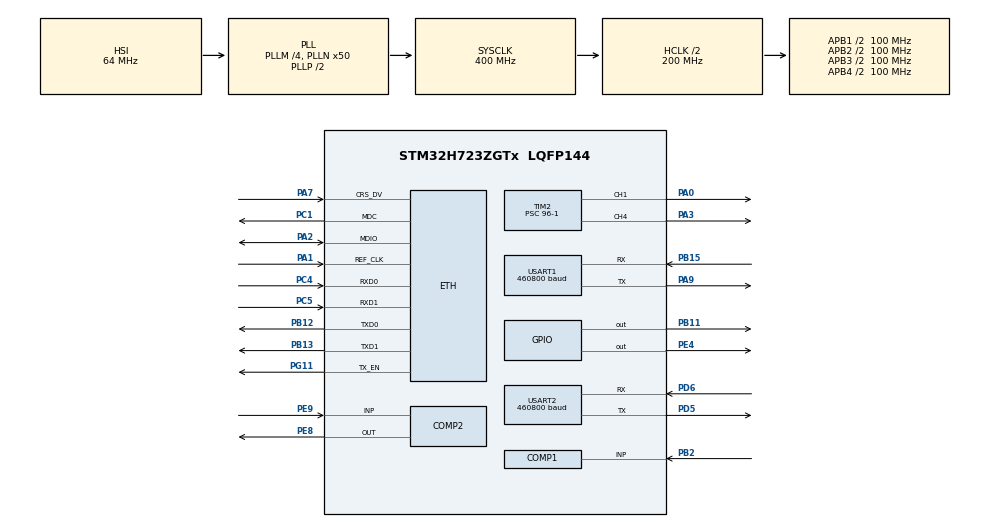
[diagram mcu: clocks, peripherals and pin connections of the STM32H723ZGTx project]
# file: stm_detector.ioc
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COMP1.OutputPol=COMP_OUTPUTPOL_NONINVERTED
CORTEX_M7.AccessPermission_S-Cortex_Memory_Protection_Unit_Region1_Settings_S=MPU_REGION_PRIV_RO
CORTEX_M7.BaseAddress_S-Cortex_Memory_Protection_Unit_Region1_Settings_S=0x08000000
CORTEX_M7.CPU_DCache=Enabled
CORTEX_M7.CPU_ICache=Enabled
CORTEX_M7.Enable_S-Cortex_Memory_Protection_Unit_Region1_Settings_S=MPU_REGION_ENABLE
CORTEX_M7.IsCacheable_S-Cortex_Memory_Protection_Unit_Region1_Settings_S=MPU_ACCESS_CACHEABLE
CORTEX_M7.Size_S-Cortex_Memory_Protection_Unit_Region1_Settings_S=MPU_REGION_SIZE_1MB
CORTEX_M7.TypeExtField_S-Cortex_Memory_Protection_Unit_Region1_Settings_S=MPU_TEX_LEVEL1
CORTEX_M7.default_mode_Activation=1
DAC1.DAC_Channel-DAC_OUT1_Int=DAC_CHANNEL_1
DAC1.DAC_Channel-DAC_OUT2_Int=DAC_CHANNEL_2
Dma.Request0=USART2_RX
Dma.USART2_RX.0.Direction=DMA_PERIPH_TO_MEMORY
Dma.USART2_RX.0.EventEnable=DISABLE
Dma.USART2_RX.0.FIFOMode=DMA_FIFOMODE_DISABLE
Dma.USART2_RX.0.Instance=DMA1_Stream5
Dma.USART2_RX.0.MemDataAlignment=DMA_MDATAALIGN_BYTE
Dma.USART2_RX.0.MemInc=DMA_MINC_ENABLE
Dma.USART2_RX.0.Mode=DMA_CIRCULAR
Dma.USART2_RX.0.PeriphDataAlignment=DMA_PDATAALIGN_BYTE
Dma.USART2_RX.0.PeriphInc=DMA_PINC_DISABLE
Dma.USART2_RX.0.Polarity=HAL_DMAMUX_REQ_GEN_RISING
Dma.USART2_RX.0.Priority=DMA_PRIORITY_MEDIUM
Dma.USART2_RX.0.RequestNumber=1
Dma.USART2_RX.0.SignalID=NONE
Dma.USART2_RX.0.SyncEnable=DISABLE
Dma.USART2_RX.0.SyncPolarity=HAL_DMAMUX_SYNC_NO_EVENT
Dma.USART2_RX.0.SyncRequestNumber=1
Dma.USART2_RX.0.SyncSignalID=NONE
ETH.MediaInterface=HAL_ETH_RMII_MODE
FREERTOS.Tasks01=defaultTask,24,1024,StartDefaultTask,Default,NULL,Dynamic,NULL,NULL
FREERTOS.configENABLE_FPU=1
FREERTOS.configMINIMAL_STACK_SIZE=1024
FREERTOS.configUSE_NEWLIB_REENTRANT=1
LWIP.BSP.number=1
LWIP.GATEWAY_ADDRESS=010.000.001.001
LWIP.IP_ADDRESS=010.000.001.099
LWIP.LWIP_DHCP=0
LWIP.NETMASK_ADDRESS=255.255.255.000
LWIP.Version=v2.1.2_Cube
LWIP0.BSP.STBoard=false
LWIP0.BSP.api=BSP_COMPONENT_DRIVER
LWIP0.BSP.component=LAN8742
LWIP0.BSP.instance=LAN8742
LWIP0.BSP.name=Driver_PHY
LWIP0.BSP.semaphore=S_LAN8742
LWIP0.BSP.solution=LAN8742
Mcu.Family=STM32H7
Mcu.Name=STM32H723ZGTx
Mcu.Package=LQFP144
NUCLEO-H723ZG.BUTTON=1
NUCLEO-H723ZG.Bsp_Common_DEMO=true
NUCLEO-H723ZG.LD1=false
NUCLEO-H723ZG.LD2=true
NUCLEO-H723ZG.LD3=true
NUCLEO-H723ZG.VCP=true
NVIC.DMA1_Stream5_IRQn=true\:7\:0\:true\:false\:true\:false\:false\:true\:true
NVIC.EXTI15_10_IRQn=true\:5\:0\:false\:false\:true\:true\:false\:true\:true
NVIC.PriorityGroup=NVIC_PRIORITYGROUP_4
NVIC.TIM1_UP_IRQn=true\:15\:0\:false\:false\:true\:false\:false\:true\:true
NVIC.TIM3_IRQn=true\:5\:0\:true\:false\:true\:true\:true\:true\:true
NVIC.TimeBase=TIM1_UP_IRQn
NVIC.TimeBaseIP=TIM1
NVIC.USART2_IRQn=true\:6\:0\:true\:false\:true\:true\:true\:true\:true
PA0.GPIO_Speed=GPIO_SPEED_FREQ_VERY_HIGH
PA0.Signal=S_TIM2_CH1_ETR
PA1.Mode=RMII
PA1.Signal=ETH_REF_CLK
PA13(JTMS/SWDIO).GPIO_Label=SWDIO
PA13(JTMS/SWDIO).Mode=Serial_Wire
PA13(JTMS/SWDIO).Signal=DEBUG_JTMS-SWDIO
PA14(JTCK/SWCLK).GPIO_Label=SWCLK
PA14(JTCK/SWCLK).Mode=Serial_Wire
PA14(JTCK/SWCLK).Signal=DEBUG_JTCK-SWCLK
PA2.Mode=RMII
PA2.Signal=ETH_MDIO
PA3.GPIO_Speed=GPIO_SPEED_FREQ_VERY_HIGH
PA3.Signal=S_TIM2_CH4
PA7.Mode=RMII
PA7.Signal=ETH_CRS_DV
PA9.Mode=Asynchronous
PA9.Signal=USART1_TX
PB11.Signal=GPIO_Output
PB12.Mode=RMII
PB12.Signal=ETH_TXD0
PB13.Mode=RMII
PB13.Signal=ETH_TXD1
PB15.Mode=Asynchronous
PB15.Signal=USART1_RX
PB2.Mode=INP
PB2.Signal=COMP1_INP
PC1.Mode=RMII
PC1.Signal=ETH_MDC
PC14-OSC32_IN.Signal=RCC_OSC32_IN
PC15-OSC32_OUT.Signal=RCC_OSC32_OUT
PC4.Mode=RMII
PC4.Signal=ETH_RXD0
PC5.Mode=RMII
PC5.Signal=ETH_RXD1
PD5.Mode=Asynchronous
PD5.Signal=USART2_TX
PD6.Mode=Asynchronous
PD6.Signal=USART2_RX
PD8.Signal=USART3_TX
PD9.Signal=USART3_RX
PE12.Signal=COMP1_OUT
PE4.Signal=GPIO_Output
PE8.Mode=ExternalOutput
PE8.Signal=COMP2_OUT
PE9.Mode=INP
PE9.Signal=COMP2_INP
PG11.Mode=RMII
PG11.Signal=ETH_TX_EN
ProjectManager.HeapSize=0x200
ProjectManager.StackSize=0x400
ProjectManager.TargetToolchain=STM32CubeIDE
RCC.ADCFreq_Value=608000000
RCC.APB1Freq_Value=100000000
RCC.APB2Freq_Value=100000000
RCC.APB3Freq_Value=100000000
RCC.APB4Freq_Value=100000000
RCC.CortexFreq_Value=400000000
RCC.D1PPRE=RCC_APB3_DIV2
RCC.D2PPRE1=RCC_APB1_DIV2
RCC.D2PPRE2=RCC_APB2_DIV2
RCC.D3PPRE=RCC_APB4_DIV2
RCC.DIVM1=4
RCC.DIVM2=1
RCC.DIVN1=50
RCC.DIVN2=19
RCC.DIVQ1=4
RCC.HCLKFreq_Value=200000000
RCC.HPRE=RCC_HCLK_DIV2
RCC.HSE_VALUE=8000000
RCC.PLLFRACN=0
RCC.SYSCLKFreq_VALUE=400000000
RCC.SYSCLKSource=RCC_SYSCLKSOURCE_PLLCLK
RCC.USBCLockSelection=RCC_USBCLKSOURCE_HSI48
RCC.USBFreq_Value=48000000
SH.S_TIM2_CH1_ETR.0=TIM2_CH1,PWM Generation1 CH1
SH.S_TIM2_CH4.0=TIM2_CH4,PWM Generation4 CH4
TIM2.Channel-PWM\ Generation1\ CH1=TIM_CHANNEL_1
TIM2.Channel-PWM\ Generation4\ CH4=TIM_CHANNEL_4
TIM2.OCPolarity_1=TIM_OCPOLARITY_LOW
TIM2.OCPolarity_4=TIM_OCPOLARITY_HIGH
TIM2.Period=50
TIM2.Prescaler=96-1
TIM2.TIM_MasterOutputTrigger=TIM_TRGO_ENABLE
TIM3.Channel-Input_Capture1_from_TI1_Remap_TIM3=TIM_CHANNEL_1
TIM3.TIM_MasterOutputTrigger=TIM_TRGO_ENABLE
USART1.BaudRate=460800
USART1.FIFOMode=FIFOMODE_ENABLE
USART1.Mode=MODE_RX
USART1.RXFIFOThreshold=RXFIFO_THRESHOLD_HALFFULL
USART1.VirtualMode-Asynchronous=VM_ASYNC
USART2.BaudRate=460800
USART2.DMADisableonRxErrorParam=ADVFEATURE_DMA_DISABLEONRXERROR
USART2.FIFOMode=FIFOMODE_DISABLE
USART2.Mode=MODE_RX
USART2.RXFIFOThreshold=RXFIFO_THRESHOLD_HALFFULL
USART2.VirtualMode-Asynchronous=VM_ASYNC
VP_COMP1_VS_VREFINT34.Mode=VREFINT_34
VP_COMP2_VS_VREFINT12.Mode=VREFINT_12
VP_DAC1_VS_DACI1.Mode=DAC_OUT1_Int
VP_DAC1_VS_DACI2.Mode=DAC_OUT2_Int
VP_FREERTOS_VS_CMSIS_V2.Mode=CMSIS_V2
VP_LWIP_VS_Enabled.Mode=Enabled
VP_MEMORYMAP_VS_MEMORYMAP.Mode=CurAppReg
VP_NUCLEO-H723ZG_VS_BSP_COMMON.Mode=COMMON
VP_SYS_VS_tim1.Mode=TIM1
VP_TIM2_VS_ClockSourceINT.Mode=Internal
VP_TIM2_VS_OPM.Mode=OPM_bit
VP_TIM3_VS_ClockSourceINT.Mode=Internal
VP_TIM3_VS_ClockSourceITR.Mode=TriggerSource_ITR1
VP_TIM3_VS_ControllerModeTrigger.Mode=Trigger Mode
VP_TIM3_VS_NoInput1.Mode=Input_Capture1_from_TI1_Remap_TIM3
VREF+.Mode=InternalMode
VREF+.Signal=VREFBUF_OUT
board=NUCLEO-H723ZG

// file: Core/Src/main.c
/* USER CODE BEGIN Header */
/**
 ******************************************************************************
 * @file           : main.c
 * @brief          : Main program body
 ******************************************************************************
 * @attention
 *
 * Copyright (c) 2025 STMicroelectronics.
 * All rights reserved.
 *
 * This software is licensed under terms that can be found in the LICENSE file
 * in the root directory of this software component.
 * If no LICENSE file comes with this software, it is provided AS-IS.
 *
 ******************************************************************************
 */
/* USER CODE END Header */
#include "main.h"
#include "cmsis_os.h"
#include "lwip.h"

/* USER CODE BEGIN Includes */
#include "lwip/apps/lwiperf.h"
#include "gps.h"
#include "metal_detector.h"

/* USER CODE END Includes */

COM_InitTypeDef BspCOMInit;
__IO uint32_t BspButtonState = BUTTON_RELEASED;
COMP_HandleTypeDef hcomp1;
COMP_HandleTypeDef hcomp2;

DAC_HandleTypeDef hdac1;

TIM_HandleTypeDef htim2;
TIM_HandleTypeDef htim3;

UART_HandleTypeDef huart1;
UART_HandleTypeDef huart2;
DMA_HandleTypeDef hdma_usart2_rx;

/* Definitions for defaultTask */
osThreadId_t defaultTaskHandle;
const osThreadAttr_t defaultTask_attributes = {
  .name = "defaultTask",
  .stack_size = 1024 * 4,
  .priority = (osPriority_t) osPriorityNormal,
};
/* USER CODE BEGIN PV */

// GPS and metal detector modules are now in separate files (gps.c/metal_detector.c)

/* USER CODE END PV */

void SystemClock_Config(void);
static void MPU_Config(void);
static void MX_GPIO_Init(void);
static void MX_DMA_Init(void);
static void MX_COMP1_Init(void);
static void MX_COMP2_Init(void);
static void MX_DAC1_Init(void);
static void MX_TIM3_Init(void);
static void MX_USART1_UART_Init(void);
static void MX_USART2_UART_Init(void);
static void MX_TIM2_Init(void);
void StartDefaultTask(void *argument);

/* USER CODE BEGIN PFP */
// Function prototypes now in gps.h and metal_detector.h
/* USER CODE END PFP */

int main(void)
{

  /* MPU Configuration--------------------------------------------------------*/
  MPU_Config();

  /* Enable the CPU Cache */

  /* Enable I-Cache---------------------------------------------------------*/
  SCB_EnableICache();

  /* Enable D-Cache---------------------------------------------------------*/
  SCB_EnableDCache();

  /* MCU Configuration--------------------------------------------------------*/

  /* Reset of all peripherals, Initializes the Flash interface and the Systick. */
  HAL_Init();

  /* Configure the system clock */
  SystemClock_Config();

  /* Initialize all configured peripherals */
  MX_GPIO_Init();
  MX_DMA_Init();
  MX_COMP1_Init();
  MX_COMP2_Init();
  MX_DAC1_Init();
  MX_TIM3_Init();
  MX_USART1_UART_Init();
  MX_USART2_UART_Init();
  MX_TIM2_Init();
  /* USER CODE BEGIN 2 */

  // Start TIM3 in free-running mode
  HAL_TIM_Base_Start(&htim3);

  // Start input capture with interrupt
  HAL_TIM_IC_Start_IT(&htim3, TIM_CHANNEL_1); // For COMP1
                                              // HAL_TIM_IC_Start_IT(&htim3, TIM_CHANNEL_2);  // For COMP2 if needed

  /* USER CODE END 2 */

  /* Init scheduler */
  osKernelInitialize();

  /* Create the thread(s) */
  /* creation of defaultTask */
  defaultTaskHandle = osThreadNew(StartDefaultTask, NULL, &defaultTask_attributes);

  /* Initialize leds */
  BSP_LED_Init(LED_YELLOW);
  BSP_LED_Init(LED_RED);

  /* Initialize USER push-button, will be used to trigger an interrupt each time it's pressed.*/
  BSP_PB_Init(BUTTON_USER, BUTTON_MODE_EXTI);

  /* Initialize COM1 port (115200, 8 bits (7-bit data + 1 stop bit), no parity */
  BspCOMInit.BaudRate   = 460800;
  BspCOMInit.WordLength = COM_WORDLENGTH_8B;
  BspCOMInit.StopBits   = COM_STOPBITS_1;
  BspCOMInit.Parity     = COM_PARITY_NONE;
  BspCOMInit.HwFlowCtl  = COM_HWCONTROL_NONE;
  if (BSP_COM_Init(COM1, &BspCOMInit) != BSP_ERROR_NONE)
  {
    Error_Handler();
  }

  /* USER CODE BEGIN BSP */

  /* -- Sample board code to send message over COM1 port ---- */
  printf("Welcome 2 STM32 world !\n\r");

  /* -- Sample board code to switch on leds ---- */
  BSP_LED_On(LED_YELLOW);
  BSP_LED_On(LED_RED);

  /* USER CODE END BSP */

  /* Start scheduler */
  osKernelStart();

  /* We should never get here as control is now taken by the scheduler */

  /* Infinite loop */
  /* USER CODE BEGIN WHILE */
  while (1)
  {

    /* -- Sample board code for User push-button in interrupt mode ---- */
    if (BspButtonState == BUTTON_PRESSED)
    {
      /* Update button state */
      BspButtonState = BUTTON_RELEASED;
      /* -- Sample board code to toggle leds ---- */
      BSP_LED_Toggle(LED_YELLOW);
      BSP_LED_Toggle(LED_RED);

      /* ..... Perform your action ..... */
    }
    /* USER CODE END WHILE */

  }
}

void SystemClock_Config(void)
{
  RCC_OscInitTypeDef RCC_OscInitStruct = {0};
  RCC_ClkInitTypeDef RCC_ClkInitStruct = {0};

  /** Supply configuration update enable
  */
  HAL_PWREx_ConfigSupply(PWR_LDO_SUPPLY);

  /** Configure the main internal regulator output voltage
  */
  __HAL_PWR_VOLTAGESCALING_CONFIG(PWR_REGULATOR_VOLTAGE_SCALE1);

  while(!__HAL_PWR_GET_FLAG(PWR_FLAG_VOSRDY)) {}

  /** Initializes the RCC Oscillators according to the specified parameters
  * in the RCC_OscInitTypeDef structure.
  */
  RCC_OscInitStruct.OscillatorType = RCC_OSCILLATORTYPE_HSI;
  RCC_OscInitStruct.HSIState = RCC_HSI_DIV1;
  RCC_OscInitStruct.HSICalibrationValue = 64;
  RCC_OscInitStruct.PLL.PLLState = RCC_PLL_ON;
  RCC_OscInitStruct.PLL.PLLSource = RCC_PLLSOURCE_HSI;
  RCC_OscInitStruct.PLL.PLLM = 4;
  RCC_OscInitStruct.PLL.PLLN = 50;
  RCC_OscInitStruct.PLL.PLLP = 2;
  RCC_OscInitStruct.PLL.PLLQ = 4;
  RCC_OscInitStruct.PLL.PLLR = 2;
  RCC_OscInitStruct.PLL.PLLRGE = RCC_PLL1VCIRANGE_3;
  RCC_OscInitStruct.PLL.PLLVCOSEL = RCC_PLL1VCOWIDE;
  RCC_OscInitStruct.PLL.PLLFRACN = 0;
  if (HAL_RCC_OscConfig(&RCC_OscInitStruct) != HAL_OK)
  {
    Error_Handler();
  }

  /** Initializes the CPU, AHB and APB buses clocks
  */
  RCC_ClkInitStruct.ClockType = RCC_CLOCKTYPE_HCLK|RCC_CLOCKTYPE_SYSCLK
                              |RCC_CLOCKTYPE_PCLK1|RCC_CLOCKTYPE_PCLK2
                              |RCC_CLOCKTYPE_D3PCLK1|RCC_CLOCKTYPE_D1PCLK1;
  RCC_ClkInitStruct.SYSCLKSource = RCC_SYSCLKSOURCE_PLLCLK;
  RCC_ClkInitStruct.SYSCLKDivider = RCC_SYSCLK_DIV1;
  RCC_ClkInitStruct.AHBCLKDivider = RCC_HCLK_DIV2;
  RCC_ClkInitStruct.APB3CLKDivider = RCC_APB3_DIV2;
  RCC_ClkInitStruct.APB1CLKDivider = RCC_APB1_DIV2;
  RCC_ClkInitStruct.APB2CLKDivider = RCC_APB2_DIV2;
  RCC_ClkInitStruct.APB4CLKDivider = RCC_APB4_DIV2;

  if (HAL_RCC_ClockConfig(&RCC_ClkInitStruct, FLASH_LATENCY_2) != HAL_OK)
  {
    Error_Handler();
  }
}

static void MX_COMP1_Init(void)
{

  hcomp1.Instance = COMP1;
  hcomp1.Init.InvertingInput = COMP_INPUT_MINUS_3_4VREFINT;
  hcomp1.Init.NonInvertingInput = COMP_INPUT_PLUS_IO2;
  hcomp1.Init.OutputPol = COMP_OUTPUTPOL_NONINVERTED;
  hcomp1.Init.Hysteresis = COMP_HYSTERESIS_NONE;
  hcomp1.Init.BlankingSrce = COMP_BLANKINGSRC_NONE;
  hcomp1.Init.Mode = COMP_POWERMODE_HIGHSPEED;
  hcomp1.Init.WindowMode = COMP_WINDOWMODE_DISABLE;
  hcomp1.Init.TriggerMode = COMP_TRIGGERMODE_NONE;
  if (HAL_COMP_Init(&hcomp1) != HAL_OK)
  {
    Error_Handler();
  }

}

static void MX_COMP2_Init(void)
{

  hcomp2.Instance = COMP2;
  hcomp2.Init.InvertingInput = COMP_INPUT_MINUS_1_2VREFINT;
  hcomp2.Init.NonInvertingInput = COMP_INPUT_PLUS_IO1;
  hcomp2.Init.OutputPol = COMP_OUTPUTPOL_NONINVERTED;
  hcomp2.Init.Hysteresis = COMP_HYSTERESIS_NONE;
  hcomp2.Init.BlankingSrce = COMP_BLANKINGSRC_NONE;
  hcomp2.Init.Mode = COMP_POWERMODE_HIGHSPEED;
  hcomp2.Init.WindowMode = COMP_WINDOWMODE_DISABLE;
  hcomp2.Init.TriggerMode = COMP_TRIGGERMODE_NONE;
  if (HAL_COMP_Init(&hcomp2) != HAL_OK)
  {
    Error_Handler();
  }

}

static void MX_DAC1_Init(void)
{

  DAC_ChannelConfTypeDef sConfig = {0};

  /** DAC Initialization
  */
  hdac1.Instance = DAC1;
  if (HAL_DAC_Init(&hdac1) != HAL_OK)
  {
    Error_Handler();
  }

  /** DAC channel OUT1 config
  */
  sConfig.DAC_SampleAndHold = DAC_SAMPLEANDHOLD_DISABLE;
  sConfig.DAC_Trigger = DAC_TRIGGER_NONE;
  sConfig.DAC_OutputBuffer = DAC_OUTPUTBUFFER_DISABLE;
  sConfig.DAC_ConnectOnChipPeripheral = DAC_CHIPCONNECT_ENABLE;
  sConfig.DAC_UserTrimming = DAC_TRIMMING_FACTORY;
  if (HAL_DAC_ConfigChannel(&hdac1, &sConfig, DAC_CHANNEL_1) != HAL_OK)
  {
    Error_Handler();
  }

  /** DAC channel OUT2 config
  */
  if (HAL_DAC_ConfigChannel(&hdac1, &sConfig, DAC_CHANNEL_2) != HAL_OK)
  {
    Error_Handler();
  }

}

static void MX_TIM2_Init(void)
{

  TIM_ClockConfigTypeDef sClockSourceConfig = {0};
  TIM_MasterConfigTypeDef sMasterConfig = {0};
  TIM_OC_InitTypeDef sConfigOC = {0};

  htim2.Instance = TIM2;
  htim2.Init.Prescaler = 96-1;
  htim2.Init.CounterMode = TIM_COUNTERMODE_UP;
  htim2.Init.Period = 50;
  htim2.Init.ClockDivision = TIM_CLOCKDIVISION_DIV1;
  htim2.Init.AutoReloadPreload = TIM_AUTORELOAD_PRELOAD_DISABLE;
  if (HAL_TIM_Base_Init(&htim2) != HAL_OK)
  {
    Error_Handler();
  }
  sClockSourceConfig.ClockSource = TIM_CLOCKSOURCE_INTERNAL;
  if (HAL_TIM_ConfigClockSource(&htim2, &sClockSourceConfig) != HAL_OK)
  {
    Error_Handler();
  }
  if (HAL_TIM_PWM_Init(&htim2) != HAL_OK)
  {
    Error_Handler();
  }
  if (HAL_TIM_OnePulse_Init(&htim2, TIM_OPMODE_SINGLE) != HAL_OK)
  {
    Error_Handler();
  }
  sMasterConfig.MasterOutputTrigger = TIM_TRGO_ENABLE;
  sMasterConfig.MasterSlaveMode = TIM_MASTERSLAVEMODE_DISABLE;
  if (HAL_TIMEx_MasterConfigSynchronization(&htim2, &sMasterConfig) != HAL_OK)
  {
    Error_Handler();
  }
  sConfigOC.OCMode = TIM_OCMODE_PWM1;
  sConfigOC.Pulse = 0;
  sConfigOC.OCPolarity = TIM_OCPOLARITY_LOW;
  sConfigOC.OCFastMode = TIM_OCFAST_DISABLE;
  if (HAL_TIM_PWM_ConfigChannel(&htim2, &sConfigOC, TIM_CHANNEL_1) != HAL_OK)
  {
    Error_Handler();
  }
  sConfigOC.OCPolarity = TIM_OCPOLARITY_HIGH;
  if (HAL_TIM_PWM_ConfigChannel(&htim2, &sConfigOC, TIM_CHANNEL_4) != HAL_OK)
  {
    Error_Handler();
  }
  /* USER CODE BEGIN TIM2_Init 2 */

  // Pull-ups on GPIO ensure both channels idle HIGH at reset (configured in MSP)

  /* USER CODE END TIM2_Init 2 */
  HAL_TIM_MspPostInit(&htim2);

}

static void MX_TIM3_Init(void)
{

  TIM_ClockConfigTypeDef sClockSourceConfig = {0};
  TIM_SlaveConfigTypeDef sSlaveConfig = {0};
  TIM_MasterConfigTypeDef sMasterConfig = {0};
  TIM_IC_InitTypeDef sConfigIC = {0};

  htim3.Instance = TIM3;
  htim3.Init.Prescaler = 0;
  htim3.Init.CounterMode = TIM_COUNTERMODE_UP;
  htim3.Init.Period = 65535;
  htim3.Init.ClockDivision = TIM_CLOCKDIVISION_DIV1;
  htim3.Init.AutoReloadPreload = TIM_AUTORELOAD_PRELOAD_DISABLE;
  if (HAL_TIM_Base_Init(&htim3) != HAL_OK)
  {
    Error_Handler();
  }
  sClockSourceConfig.ClockSource = TIM_CLOCKSOURCE_INTERNAL;
  if (HAL_TIM_ConfigClockSource(&htim3, &sClockSourceConfig) != HAL_OK)
  {
    Error_Handler();
  }
  if (HAL_TIM_IC_Init(&htim3) != HAL_OK)
  {
    Error_Handler();
  }
  sSlaveConfig.SlaveMode = TIM_SLAVEMODE_TRIGGER;
  sSlaveConfig.InputTrigger = TIM_TS_ITR1;
  if (HAL_TIM_SlaveConfigSynchro(&htim3, &sSlaveConfig) != HAL_OK)
  {
    Error_Handler();
  }
  sMasterConfig.MasterOutputTrigger = TIM_TRGO_ENABLE;
  sMasterConfig.MasterSlaveMode = TIM_MASTERSLAVEMODE_DISABLE;
  if (HAL_TIMEx_MasterConfigSynchronization(&htim3, &sMasterConfig) != HAL_OK)
  {
    Error_Handler();
  }
  sConfigIC.ICPolarity = TIM_INPUTCHANNELPOLARITY_RISING;
  sConfigIC.ICSelection = TIM_ICSELECTION_DIRECTTI;
  sConfigIC.ICPrescaler = TIM_ICPSC_DIV1;
  sConfigIC.ICFilter = 0;
  if (HAL_TIM_IC_ConfigChannel(&htim3, &sConfigIC, TIM_CHANNEL_1) != HAL_OK)
  {
    Error_Handler();
  }
  if (HAL_TIMEx_TISelection(&htim3, TIM_TIM3_TI1_COMP1, TIM_CHANNEL_1) != HAL_OK)
  {
    Error_Handler();
  }

}

static void MX_USART1_UART_Init(void)
{

  huart1.Instance = USART1;
  huart1.Init.BaudRate = 460800;
  huart1.Init.WordLength = UART_WORDLENGTH_8B;
  huart1.Init.StopBits = UART_STOPBITS_1;
  huart1.Init.Parity = UART_PARITY_NONE;
  huart1.Init.Mode = UART_MODE_RX;
  huart1.Init.HwFlowCtl = UART_HWCONTROL_NONE;
  huart1.Init.OverSampling = UART_OVERSAMPLING_16;
  huart1.Init.OneBitSampling = UART_ONE_BIT_SAMPLE_DISABLE;
  huart1.Init.ClockPrescaler = UART_PRESCALER_DIV1;
  huart1.AdvancedInit.AdvFeatureInit = UART_ADVFEATURE_NO_INIT;
  if (HAL_UART_Init(&huart1) != HAL_OK)
  {
    Error_Handler();
  }
  if (HAL_UARTEx_SetTxFifoThreshold(&huart1, UART_TXFIFO_THRESHOLD_1_8) != HAL_OK)
  {
    Error_Handler();
  }
  if (HAL_UARTEx_SetRxFifoThreshold(&huart1, UART_RXFIFO_THRESHOLD_1_2) != HAL_OK)
  {
    Error_Handler();
  }
  if (HAL_UARTEx_EnableFifoMode(&huart1) != HAL_OK)
  {
    Error_Handler();
  }

}

static void MX_USART2_UART_Init(void)
{

  huart2.Instance = USART2;
  huart2.Init.BaudRate = 460800;
  huart2.Init.WordLength = UART_WORDLENGTH_8B;
  huart2.Init.StopBits = UART_STOPBITS_1;
  huart2.Init.Parity = UART_PARITY_NONE;
  huart2.Init.Mode = UART_MODE_RX;
  huart2.Init.HwFlowCtl = UART_HWCONTROL_NONE;
  huart2.Init.OverSampling = UART_OVERSAMPLING_16;
  huart2.Init.OneBitSampling = UART_ONE_BIT_SAMPLE_DISABLE;
  huart2.Init.ClockPrescaler = UART_PRESCALER_DIV1;
  huart2.AdvancedInit.AdvFeatureInit = UART_ADVFEATURE_DMADISABLEONERROR_INIT;
  huart2.AdvancedInit.DMADisableonRxError = UART_ADVFEATURE_DMA_DISABLEONRXERROR;
  if (HAL_UART_Init(&huart2) != HAL_OK)
  {
    Error_Handler();
  }
  if (HAL_UARTEx_SetTxFifoThreshold(&huart2, UART_TXFIFO_THRESHOLD_1_8) != HAL_OK)
  {
    Error_Handler();
  }
  if (HAL_UARTEx_SetRxFifoThreshold(&huart2, UART_RXFIFO_THRESHOLD_1_2) != HAL_OK)
  {
    Error_Handler();
  }
  if (HAL_UARTEx_DisableFifoMode(&huart2) != HAL_OK)
  {
    Error_Handler();
  }
  /* USER CODE BEGIN USART2_Init 2 */

  // Configure character match for LF ('\n' = 0x0A)
  // CRITICAL: Must disable UART to write CR2 ADD field!
  huart2.Instance->CR1 &= ~USART_CR1_UE;  // Disable UART
  huart2.Instance->CR2 &= ~(0xFFUL << 24);  // Clear ADD field
  huart2.Instance->CR2 |= (0x0AUL << 24);  // Set to LF (0x0A)
  huart2.Instance->CR1 |= USART_CR1_UE;   // Re-enable UART

  // Set priorities and enable NVIC
  HAL_NVIC_SetPriority(USART2_IRQn, 4, 0);
  HAL_NVIC_EnableIRQ(USART2_IRQn);

  // Enable character match interrupt
  __HAL_UART_ENABLE_IT(&huart2, UART_IT_CM);

  // Start DMA reception in circular mode
  HAL_UART_Receive_DMA(&huart2, gps_dma_buffer, GPS_DMA_BUFFER_SIZE);

  /* USER CODE END USART2_Init 2 */

}

static void MX_DMA_Init(void)
{

  /* DMA controller clock enable */
  __HAL_RCC_DMA1_CLK_ENABLE();

  /* DMA interrupt init */
  /* DMA1_Stream5_IRQn interrupt configuration */
  HAL_NVIC_SetPriority(DMA1_Stream5_IRQn, 7, 0);
  HAL_NVIC_EnableIRQ(DMA1_Stream5_IRQn);
  /* DMAMUX1_OVR_IRQn interrupt configuration */
  HAL_NVIC_SetPriority(DMAMUX1_OVR_IRQn, 0, 0);
  HAL_NVIC_EnableIRQ(DMAMUX1_OVR_IRQn);

}

static void MX_GPIO_Init(void)
{
  GPIO_InitTypeDef GPIO_InitStruct = {0};

  /* GPIO Ports Clock Enable */
  __HAL_RCC_GPIOE_CLK_ENABLE();
  __HAL_RCC_GPIOC_CLK_ENABLE();
  __HAL_RCC_GPIOA_CLK_ENABLE();
  __HAL_RCC_GPIOB_CLK_ENABLE();
  __HAL_RCC_GPIOD_CLK_ENABLE();
  __HAL_RCC_GPIOG_CLK_ENABLE();

  /*Configure GPIO pin Output Level */
  HAL_GPIO_WritePin(GPIOE, GPIO_PIN_4, GPIO_PIN_RESET);

  /*Configure GPIO pin Output Level */
  HAL_GPIO_WritePin(GPIOB, GPIO_PIN_11, GPIO_PIN_RESET);

  /*Configure GPIO pin : PE4 */
  GPIO_InitStruct.Pin = GPIO_PIN_4;
  GPIO_InitStruct.Mode = GPIO_MODE_OUTPUT_PP;
  GPIO_InitStruct.Pull = GPIO_NOPULL;
  GPIO_InitStruct.Speed = GPIO_SPEED_FREQ_LOW;
  HAL_GPIO_Init(GPIOE, &GPIO_InitStruct);

  /*Configure GPIO pin : PB11 */
  GPIO_InitStruct.Pin = GPIO_PIN_11;
  GPIO_InitStruct.Mode = GPIO_MODE_OUTPUT_PP;
  GPIO_InitStruct.Pull = GPIO_NOPULL;
  GPIO_InitStruct.Speed = GPIO_SPEED_FREQ_LOW;
  HAL_GPIO_Init(GPIOB, &GPIO_InitStruct);

}

/* USER CODE BEGIN 4 */

// GPS parsing functions moved to gps.c
// Metal detector functions moved to metal_detector.c

/* USER CODE END 4 */

void StartDefaultTask(void *argument)
{
  /* init code for LWIP */
  MX_LWIP_Init();
  /* USER CODE BEGIN 5 */
  /* Infinite loop */
  printf("# Metal Detector + GPS started\n");
  HAL_COMP_Start(&hcomp1);
  HAL_TIM_IC_Start_IT(&htim3, TIM_CHANNEL_1); // Enable IC + interrupt

  // Synchronize GPS read position to current DMA write position
  // This skips any partial data already in buffer and starts fresh
  osDelay(100); // Give GPS time to send some data
  gps_buffer_read_pos = GPS_DMA_BUFFER_SIZE - __HAL_DMA_GET_COUNTER(huart2.hdmarx);
  last_gga_timestamp = HAL_GetTick();  // Initialize timeout tracker
  printf("# GPS synchronized at DMA position %lu\n", gps_buffer_read_pos);

  uint32_t debug_counter = 0;

  // External interrupt counters from ISR
  extern volatile uint32_t irq_count;
  extern volatile uint32_t cmf_count;
  extern volatile uint32_t last_isr;

  for (;;)
  {
    // Run metal detector pulse sequence

    // Debug output every 2 seconds
    /*
    if (debug_counter++ % 200 == 0)
    {
      uint32_t current_dma_pos = GPS_DMA_BUFFER_SIZE - __HAL_DMA_GET_COUNTER(huart2.hdmarx);
      printf("\n=== GPS/UART Status (t=%lu ms) ===\n", HAL_GetTick());
      printf("  USART2 IRQ count: %lu (total interrupts)\n", irq_count);
      printf("  CMF match count:  %lu (LF detections)\n", cmf_count);
      printf("  Last ISR value:   0x%08lx (bit 17=CMF)\n", last_isr);
      printf("  DMA position:     %lu / %d bytes\n", current_dma_pos, GPS_DMA_BUFFER_SIZE);
      printf("  GPS read pos:     %lu\n", gps_buffer_read_pos);
      printf("  Bytes available:  %ld\n",
             (int32_t)current_dma_pos - (int32_t)gps_buffer_read_pos);
      printf("  GPS valid:        %d\n", latest_gps_position.valid);
      printf("  GPS sats:         %d\n", latest_gps_position.satellites);
      printf("  Last GGA:         %lu ms ago\n", HAL_GetTick() - last_gga_timestamp);
      printf("=====================================\n\n");
    }
    */
    // Output synchronized CSV data only when both conditions met:
    // 1. New GGA sentence received
    // 2. Valid metal detector capture
    if (new_gga_available && comp1_captured && latest_gps_position.valid)
    {
      // Output format: lat,lon,charge,discharge,timestamp
      printf("%.9f,%.9f,%d,%.3f,%.3f,%.6f\n",
             latest_gps_position.latitude,
             latest_gps_position.longitude,
             latest_gps_position.fix_quality,
             (float)comp1_capture_time_charge * (1.0 / 200.0),
             (float)comp1_capture_time_discharge * (1.0 / 200.0),
             latest_gps_position.timestamp);

      new_gga_available = 0; // Clear flag after output
    }

    // Short delay to control loop rate (~50Hz max)
    osDelay(1);
  }
  /* USER CODE END 5 */
}

 /* MPU Configuration */

void MPU_Config(void)
{
  MPU_Region_InitTypeDef MPU_InitStruct = {0};

  /* Disables the MPU */
  HAL_MPU_Disable();

  /** Initializes and configures the Region and the memory to be protected
  */
  MPU_InitStruct.Enable = MPU_REGION_ENABLE;
  MPU_InitStruct.Number = MPU_REGION_NUMBER0;
  MPU_InitStruct.BaseAddress = 0x0;
  MPU_InitStruct.Size = MPU_REGION_SIZE_4GB;
  MPU_InitStruct.SubRegionDisable = 0x87;
  MPU_InitStruct.TypeExtField = MPU_TEX_LEVEL0;
  MPU_InitStruct.AccessPermission = MPU_REGION_NO_ACCESS;
  MPU_InitStruct.DisableExec = MPU_INSTRUCTION_ACCESS_DISABLE;
  MPU_InitStruct.IsShareable = MPU_ACCESS_SHAREABLE;
  MPU_InitStruct.IsCacheable = MPU_ACCESS_NOT_CACHEABLE;
  MPU_InitStruct.IsBufferable = MPU_ACCESS_NOT_BUFFERABLE;

  HAL_MPU_ConfigRegion(&MPU_InitStruct);

  /** Initializes and configures the Region and the memory to be protected
  */
  MPU_InitStruct.Number = MPU_REGION_NUMBER1;
  MPU_InitStruct.BaseAddress = 0x08000000;
  MPU_InitStruct.Size = MPU_REGION_SIZE_1MB;
  MPU_InitStruct.SubRegionDisable = 0x0;
  MPU_InitStruct.TypeExtField = MPU_TEX_LEVEL1;
  MPU_InitStruct.AccessPermission = MPU_REGION_PRIV_RO;
  MPU_InitStruct.DisableExec = MPU_INSTRUCTION_ACCESS_ENABLE;
  MPU_InitStruct.IsShareable = MPU_ACCESS_NOT_SHAREABLE;
  MPU_InitStruct.IsCacheable = MPU_ACCESS_CACHEABLE;

  HAL_MPU_ConfigRegion(&MPU_InitStruct);
  /* Enables the MPU */
  HAL_MPU_Enable(MPU_PRIVILEGED_DEFAULT);

}

void HAL_TIM_PeriodElapsedCallback(TIM_HandleTypeDef *htim)
{
  if (htim->Instance == TIM1)
  {
    HAL_IncTick();
  }
}

/**
  * @brief BSP Push Button callback
  * @param Button Specifies the pressed button
  * @retval None
  */
void BSP_PB_Callback(Button_TypeDef Button)
{
  if (Button == BUTTON_USER)
  {
    BspButtonState = BUTTON_PRESSED;
  }
}

void Error_Handler(void)
{
  __disable_irq();
  while (1)
  {
  }
}
